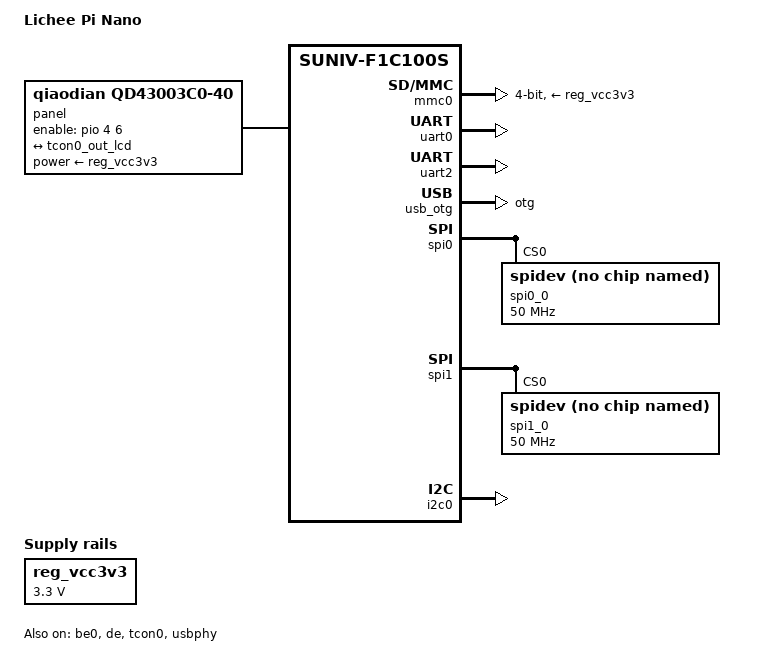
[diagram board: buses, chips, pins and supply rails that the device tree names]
// SPDX-License-Identifier: (GPL-2.0+ OR X11)
/*
 * Copyright 2018 Icenowy Zheng <icenowy@aosc.io>
 */

/dts-v1/;
#include "suniv-f1c100s.dtsi"
#include <dt-bindings/gpio/gpio.h>

/ {
	model = "Lichee Pi Nano";
	compatible = "licheepi,licheepi-nano", "allwinner,suniv-f1c100s";

	aliases {
		serial0 = &uart0;
		serial2 = &uart2;
		spi0 = &spi0;
		spi1 = &spi1;
		i2c0 = &i2c0;
	};

	chosen {
		stdout-path = "serial0:115200n8";
	};

	panel: panel {
		compatible = "qiaodian,qd43003c0-40", "simple-panel";
		#address-cells = <1>;
		#size-cells = <0>;
		enable-gpios = <&pio 4 6 GPIO_ACTIVE_HIGH>;
		power-supply = <&reg_vcc3v3>;

 		port@0 {
			reg = <0>;
			#address-cells = <1>;
			#size-cells = <0>;

 			panel_input: endpoint@0 {
				reg = <0>;
				remote-endpoint = <&tcon0_out_lcd>;
			};
		};
	};

	reg_vcc3v3: vcc3v3 {
		compatible = "regulator-fixed";
		regulator-name = "vcc3v3";
		regulator-min-microvolt = <3300000>;
		regulator-max-microvolt = <3300000>;
	};
};

&be0 {
	status = "okay";
};

&de {
	status = "okay";
};

&tcon0 {
	pinctrl-names = "default";
	pinctrl-0 = <&lcd_rgb666_pins>;
	status = "okay";
};

&tcon0_out {
	tcon0_out_lcd: endpoint@0 {
		reg = <0>;
		remote-endpoint = <&panel_input>;
	};
};

&mmc0 {
	vmmc-supply = <&reg_vcc3v3>;
	bus-width = <4>;
	broken-cd;
	status = "okay";
};

&uart0 {
	pinctrl-names = "default";
	pinctrl-0 = <&uart0_pe_pins>;
	status = "okay";
};

&uart2 {
        pinctrl-names = "default";
        pinctrl-0 = <&uart2_pe_pins>;
        status = "okay";
};

&otg_sram {
	status = "okay";
};

&usb_otg {
	dr_mode = "otg";
	status = "okay";
};

&usbphy {
	usb0_id_det-gpio = <&pio 4 2 GPIO_ACTIVE_HIGH>; /* PE2 */
	status = "okay";
};

&spi0 {
    pinctrl-names = "default";
    pinctrl-0 = <&spi0_pins_a>;
    status = "okay";
    spi-max-frequency = <50000000>;
	spi0_0 {
		#address-cells = <1>;
		#size-cells = <0>;

		compatible = "spidev";

		reg = <0>;
		spi-max-frequency = <50000000>;
	};
/* JEM
	xt25f128@0 {
		#address-cells = <0x1>;
		#size-cells = <0x1>;
		compatible = "winbond,xt25f128", "jedec,spi-nor";
		reg = <0x0>;
		spi-max-frequency = <0x2faf080>;

		partitions {
			compatible = "fixed-partitions";
			#address-cells = <0x1>;
			#size-cells = <0x1>;

			partition@0 {
				label = "u-boot";
				reg = <0x0 0x100000>;
				read-only;
			};

			partition@100000 {
				label = "dtb";
				reg = <0x100000 0x10000>;
				read-only;
			};

			partition@110000 {
				label = "kernel";
				reg = <0x110000 0x400000>;
				read-only;
			};

			partition@520000 {
				label = "rootfs";
				reg = <0x510000 0xaf0000>;
			};
		};
	};
*/
};

&spi1 {
	pinctrl-names = "default";
	pinctrl-0 = <&spi1_pins_a>;
	status = "okay";
	spi-max-frequency = <50000000>;
	spi1_0 {
		#address-cells = <1>;
		#size-cells = <0>;

		compatible = "spidev";

		reg = <0>;
		spi-max-frequency = <50000000>;
	};

};

&i2c0 {
        status = "okay";
};

